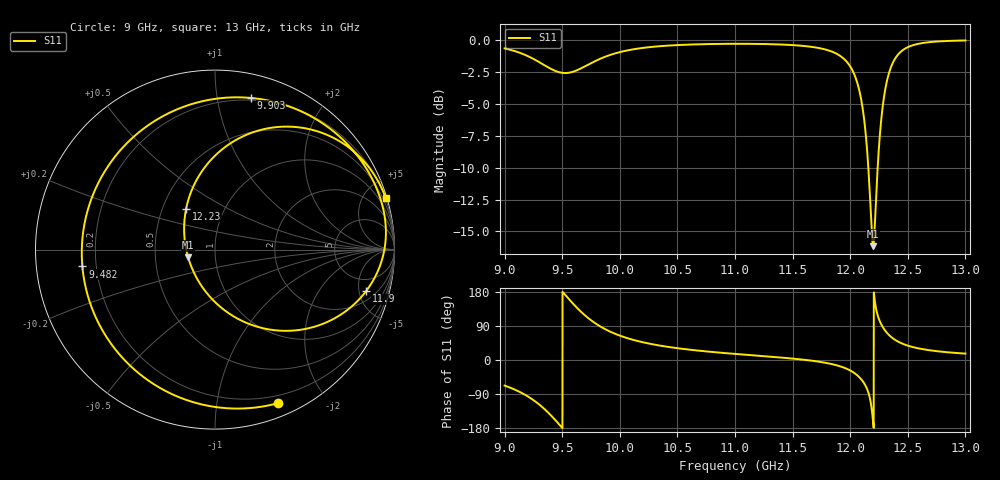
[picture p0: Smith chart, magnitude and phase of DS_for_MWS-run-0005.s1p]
! TOUCHSTONE file generated by CST DESIGN STUDIO
! Date and time: Tue Feb  4 17:39:17 2025
! Project name: C:\Work\MatlabApps\UnitCellOptimizationMatlab\CST\unitcell.cst
! Tree item: Tasks\Sweep1\SPara1\S-Parameters
! Header version: 2024
! Port assignment regex: !\s*Touchstone port\s*([0-9]+)\s*=\s*(CST MWS port|CST DES external port|CST DES block port)\s*(.+)\s* \(\"(.*)\"\)(\s*mode\s*([0-9]+))?.*
! Touchstone port assignment:
! Touchstone port 1 = CST DES external port 1 ("")
# GHz S MA R 50
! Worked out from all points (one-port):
!   4001 points, 9 GHz to 13 GHz, reference 50 ohm
!   lowest |S11| = -16.1 dB at 12.2 GHz (marker M1), VSWR 1.37, Z = 36.9 - j3.25 ohm
!   |S11| at or under -10 dB: 12.16 GHz to 12.24 GHz (81.13 MHz wide, 0.665 % of centre)
!   S11 on the Smith chart (normalised r, x): 9 GHz: 0.13, -1.49; 9.482 GHz: 0.15, -0.06; 9.903 GHz: 0.18, +1.25; 11.9 GHz: 3.00, -5.85; 12.23 GHz: 0.66, +0.33; 13 GHz: 0.14, +6.74
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9  0.925 -67.5
9.155  0.8812 -88.0
9.269  0.8329 -110.0
9.37  0.7837 -136.3
9.482  0.7449 -172.8
9.5  0.7424 -179.1
9.585  0.7478 151.6
9.694  0.7856 118.7
9.789  0.8264 96.5
9.903  0.8682 76.8
10  0.8948 64.4
10.215  0.9311 45.8
10.5  0.9533 31.2
11  0.9644 16.1
11.5  0.9532 3.7
11.9  0.8725 -15.5
12  0.7868 -27.6
12.061  0.6797 -40.2
12.119  0.4965 -60.5
12.158  0.3127 -86.1
12.199  0.1558 -164.0
12.232  0.2796 125.1
12.279  0.5338 88.8
12.327  0.7143 69.0
12.406  0.8648 50.1
12.5  0.9355 37.9
12.683  0.9782 26.0
13  0.9939 16.9
